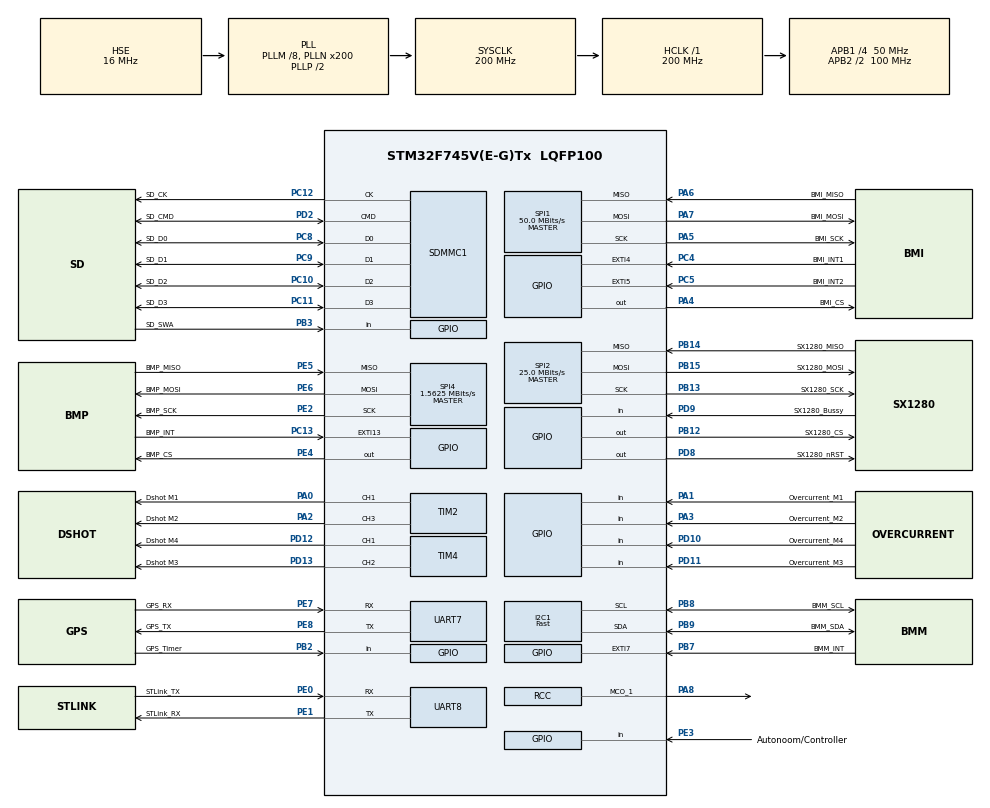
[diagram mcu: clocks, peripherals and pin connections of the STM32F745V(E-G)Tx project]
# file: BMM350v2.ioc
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CORTEX_M7.default_mode_Activation=1
Dma.Request0=TIM4_CH1
Dma.Request1=TIM4_CH2
Dma.Request2=TIM2_UP/CH3
Dma.Request3=TIM2_CH1
Dma.TIM2_CH1.3.Direction=DMA_MEMORY_TO_PERIPH
Dma.TIM2_CH1.3.FIFOMode=DMA_FIFOMODE_DISABLE
Dma.TIM2_CH1.3.Instance=DMA1_Stream5
Dma.TIM2_CH1.3.MemDataAlignment=DMA_MDATAALIGN_WORD
Dma.TIM2_CH1.3.MemInc=DMA_MINC_ENABLE
Dma.TIM2_CH1.3.Mode=DMA_NORMAL
Dma.TIM2_CH1.3.PeriphDataAlignment=DMA_PDATAALIGN_WORD
Dma.TIM2_CH1.3.PeriphInc=DMA_PINC_DISABLE
Dma.TIM2_CH1.3.Priority=DMA_PRIORITY_VERY_HIGH
Dma.TIM2_UP/CH3.2.Direction=DMA_MEMORY_TO_PERIPH
Dma.TIM2_UP/CH3.2.FIFOMode=DMA_FIFOMODE_DISABLE
Dma.TIM2_UP/CH3.2.Instance=DMA1_Stream1
Dma.TIM2_UP/CH3.2.MemDataAlignment=DMA_MDATAALIGN_WORD
Dma.TIM2_UP/CH3.2.MemInc=DMA_MINC_ENABLE
Dma.TIM2_UP/CH3.2.Mode=DMA_NORMAL
Dma.TIM2_UP/CH3.2.PeriphDataAlignment=DMA_PDATAALIGN_WORD
Dma.TIM2_UP/CH3.2.PeriphInc=DMA_PINC_DISABLE
Dma.TIM2_UP/CH3.2.Priority=DMA_PRIORITY_VERY_HIGH
Dma.TIM4_CH1.0.Direction=DMA_MEMORY_TO_PERIPH
Dma.TIM4_CH1.0.FIFOMode=DMA_FIFOMODE_DISABLE
Dma.TIM4_CH1.0.Instance=DMA1_Stream0
Dma.TIM4_CH1.0.MemDataAlignment=DMA_MDATAALIGN_HALFWORD
Dma.TIM4_CH1.0.MemInc=DMA_MINC_ENABLE
Dma.TIM4_CH1.0.Mode=DMA_NORMAL
Dma.TIM4_CH1.0.PeriphDataAlignment=DMA_PDATAALIGN_HALFWORD
Dma.TIM4_CH1.0.PeriphInc=DMA_PINC_DISABLE
Dma.TIM4_CH1.0.Priority=DMA_PRIORITY_VERY_HIGH
Dma.TIM4_CH2.1.Direction=DMA_MEMORY_TO_PERIPH
Dma.TIM4_CH2.1.FIFOMode=DMA_FIFOMODE_DISABLE
Dma.TIM4_CH2.1.Instance=DMA1_Stream3
Dma.TIM4_CH2.1.MemDataAlignment=DMA_MDATAALIGN_HALFWORD
Dma.TIM4_CH2.1.MemInc=DMA_MINC_ENABLE
Dma.TIM4_CH2.1.Mode=DMA_NORMAL
Dma.TIM4_CH2.1.PeriphDataAlignment=DMA_PDATAALIGN_HALFWORD
Dma.TIM4_CH2.1.PeriphInc=DMA_PINC_DISABLE
Dma.TIM4_CH2.1.Priority=DMA_PRIORITY_VERY_HIGH
FATFS.BSP.number=1
FATFS0.BSP.STBoard=false
FATFS0.BSP.api=Unknown
FATFS0.BSP.instance=PB3
FATFS0.BSP.ip=GPIO
FATFS0.BSP.mode=Input
FATFS0.BSP.name=Detect_SDIO
FATFS0.BSP.solution=PB3
I2C1.I2C_Speed_Mode=I2C_Fast
I2C1.Timing=0x00401959
Mcu.Family=STM32F7
Mcu.Name=STM32F745V(E-G)Tx
Mcu.Package=LQFP100
NVIC.DMA1_Stream0_IRQn=true\:0\:0\:false\:false\:true\:false\:true\:true
NVIC.DMA1_Stream1_IRQn=true\:0\:0\:false\:false\:true\:false\:true\:true
NVIC.DMA1_Stream3_IRQn=true\:0\:0\:false\:false\:true\:false\:true\:true
NVIC.DMA1_Stream5_IRQn=true\:0\:0\:false\:false\:true\:false\:true\:true
NVIC.EXTI15_10_IRQn=true\:0\:0\:false\:false\:true\:true\:true\:true
NVIC.EXTI4_IRQn=true\:3\:0\:true\:false\:true\:true\:true\:true
NVIC.EXTI9_5_IRQn=true\:3\:0\:true\:false\:true\:true\:true\:true
NVIC.PriorityGroup=NVIC_PRIORITYGROUP_4
PA0/WKUP.GPIO_Label=Dshot M1
PA0/WKUP.Signal=S_TIM2_CH1_ETR
PA1.GPIO_Label=Overcurrent_M1
PA1.Signal=GPIO_Input
PA13.GPIO_Label=STLink_DIO
PA13.Mode=Serial_Wire
PA13.Signal=SYS_JTMS-SWDIO
PA14.GPIO_Label=STLink_CLK
PA14.Mode=Serial_Wire
PA14.Signal=SYS_JTCK-SWCLK
PA2.GPIO_Label=Dshot M2
PA2.Signal=S_TIM2_CH3
PA3.GPIO_Label=Overcurrent_M2
PA3.Signal=GPIO_Input
PA4.GPIO_Label=BMI_CS
PA4.Signal=GPIO_Output
PA5.GPIO_Label=BMI_SCK
PA5.Mode=Full_Duplex_Master
PA5.Signal=SPI1_SCK
PA6.GPIO_Label=BMI_MISO
PA6.Mode=Full_Duplex_Master
PA6.Signal=SPI1_MISO
PA7.GPIO_Label=BMI_MOSI
PA7.Mode=Full_Duplex_Master
PA7.Signal=SPI1_MOSI
PA8.Mode=Clock-out-1
PA8.Signal=RCC_MCO_1
PB12.GPIO_Label=SX1280_CS
PB12.Signal=GPIO_Output
PB13.GPIO_Label=SX1280_SCK
PB13.Mode=Full_Duplex_Master
PB13.Signal=SPI2_SCK
PB14.GPIO_Label=SX1280_MISO
PB14.Mode=Full_Duplex_Master
PB14.Signal=SPI2_MISO
PB15.GPIO_Label=SX1280_MOSI
PB15.Mode=Full_Duplex_Master
PB15.Signal=SPI2_MOSI
PB2.GPIO_Label=GPS_Timer
PB2.Signal=GPIO_Input
PB3.GPIO_Label=SD_SWA
PB3.Signal=GPIO_Input
PB7.GPIO_Label=BMM_INT
PB7.Signal=GPXTI7
PB8.GPIO_Label=BMM_SCL
PB8.Mode=I2C
PB8.Signal=I2C1_SCL
PB9.GPIO_Label=BMM_SDA
PB9.Mode=I2C
PB9.Signal=I2C1_SDA
PC10.GPIO_Label=SD_D2
PC10.Mode=SD_4_bits_Wide_bus
PC10.Signal=SDMMC1_D2
PC11.GPIO_Label=SD_D3
PC11.Mode=SD_4_bits_Wide_bus
PC11.Signal=SDMMC1_D3
PC12.GPIO_Label=SD_CK
PC12.Mode=SD_4_bits_Wide_bus
PC12.Signal=SDMMC1_CK
PC13.GPIO_Label=BMP_INT
PC13.Signal=GPXTI13
PC14/OSC32_IN.Mode=LSE-External-Oscillator
PC14/OSC32_IN.Signal=RCC_OSC32_IN
PC15/OSC32_OUT.Mode=LSE-External-Oscillator
PC15/OSC32_OUT.Signal=RCC_OSC32_OUT
PC4.GPIO_Label=BMI_INT1
PC4.Signal=GPXTI4
PC5.GPIO_Label=BMI_INT2
PC5.Signal=GPXTI5
PC8.GPIO_Label=SD_D0
PC8.Mode=SD_4_bits_Wide_bus
PC8.Signal=SDMMC1_D0
PC9.GPIO_Label=SD_D1
PC9.Mode=SD_4_bits_Wide_bus
PC9.Signal=SDMMC1_D1
PD10.GPIO_Label=Overcurrent_M4
PD10.Signal=GPIO_Input
PD11.GPIO_Label=Overcurrent_M3
PD11.Signal=GPIO_Input
PD12.GPIO_Label=Dshot M4
PD12.Signal=S_TIM4_CH1
PD13.GPIO_Label=Dshot M3
PD13.Signal=S_TIM4_CH2
PD2.GPIO_Label=SD_CMD
PD2.Mode=SD_4_bits_Wide_bus
PD2.Signal=SDMMC1_CMD
PD8.GPIO_Label=SX1280_nRST
PD8.Signal=GPIO_Output
PD9.GPIO_Label=SX1280_Bussy
PD9.Signal=GPIO_Input
PE0.GPIO_Label=STLink_TX
PE0.Mode=Asynchronous
PE0.Signal=UART8_RX
PE1.GPIO_Label=STLink_RX
PE1.Mode=Asynchronous
PE1.Signal=UART8_TX
PE2.GPIO_Label=BMP_SCK
PE2.Mode=Full_Duplex_Master
PE2.Signal=SPI4_SCK
PE3.GPIO_Label=Autonoom/Controller
PE3.Signal=GPIO_Input
PE4.GPIO_Label=BMP_CS
PE4.Signal=GPIO_Output
PE5.GPIO_Label=BMP_MISO
PE5.Mode=Full_Duplex_Master
PE5.Signal=SPI4_MISO
PE6.GPIO_Label=BMP_MOSI
PE6.Mode=Full_Duplex_Master
PE6.Signal=SPI4_MOSI
PE7.GPIO_Label=GPS_RX
PE7.Mode=Asynchronous
PE7.Signal=UART7_RX
PE8.GPIO_Label=GPS_TX
PE8.Mode=Asynchronous
PE8.Signal=UART7_TX
PH0/OSC_IN.Mode=HSE-External-Oscillator
PH0/OSC_IN.Signal=RCC_OSC_IN
PH1/OSC_OUT.Mode=HSE-External-Oscillator
PH1/OSC_OUT.Signal=RCC_OSC_OUT
ProjectManager.HeapSize=0x200
ProjectManager.StackSize=0x400
ProjectManager.TargetToolchain=STM32CubeIDE
RCC.AHBFreq_Value=200000000
RCC.APB1CLKDivider=RCC_HCLK_DIV4
RCC.APB1Freq_Value=50000000
RCC.APB1TimFreq_Value=100000000
RCC.APB2CLKDivider=RCC_HCLK_DIV2
RCC.APB2Freq_Value=100000000
RCC.APB2TimFreq_Value=200000000
RCC.CortexFreq_Value=200000000
RCC.HCLKFreq_Value=200000000
RCC.HSE_VALUE=16000000
RCC.HSI_VALUE=16000000
RCC.PLLM=8
RCC.PLLN=200
RCC.PLLQ=8
RCC.PLLSourceVirtual=RCC_PLLSOURCE_HSE
RCC.SDMMCClockSelection=RCC_SDMMC1CLKSOURCE_CLK48
RCC.SYSCLKFreq_VALUE=200000000
RCC.SYSCLKSource=RCC_SYSCLKSOURCE_PLLCLK
RCC.USBFreq_Value=50000000
RCC.VCOOutputFreq_Value=400000000
SDMMC1.ClockBypass=SDMMC_CLOCK_BYPASS_DISABLE
SH.S_TIM2_CH1_ETR.0=TIM2_CH1,PWM Generation1 CH1
SH.S_TIM2_CH3.0=TIM2_CH3,PWM Generation3 CH3
SH.S_TIM4_CH1.0=TIM4_CH1,PWM Generation1 CH1
SH.S_TIM4_CH2.0=TIM4_CH2,PWM Generation2 CH2
SPI1.CLKPhase=SPI_PHASE_2EDGE
SPI1.CLKPolarity=SPI_POLARITY_HIGH
SPI1.CalculateBaudRate=50.0 MBits/s
SPI1.DataSize=SPI_DATASIZE_8BIT
SPI1.Direction=SPI_DIRECTION_2LINES
SPI1.Mode=SPI_MODE_MASTER
SPI1.VirtualType=VM_MASTER
SPI2.BaudRatePrescaler=SPI_BAUDRATEPRESCALER_2
SPI2.CalculateBaudRate=25.0 MBits/s
SPI2.DataSize=SPI_DATASIZE_8BIT
SPI2.Direction=SPI_DIRECTION_2LINES
SPI2.Mode=SPI_MODE_MASTER
SPI2.NSSPMode=SPI_NSS_PULSE_DISABLE
SPI2.VirtualType=VM_MASTER
SPI4.BaudRatePrescaler=SPI_BAUDRATEPRESCALER_64
SPI4.CLKPhase=SPI_PHASE_1EDGE
SPI4.CLKPolarity=SPI_POLARITY_LOW
SPI4.CalculateBaudRate=1.5625 MBits/s
SPI4.DataSize=SPI_DATASIZE_8BIT
SPI4.Direction=SPI_DIRECTION_2LINES
SPI4.Mode=SPI_MODE_MASTER
SPI4.VirtualType=VM_MASTER
TIM2.Channel-PWM\ Generation1\ CH1=TIM_CHANNEL_1
TIM2.Channel-PWM\ Generation3\ CH3=TIM_CHANNEL_3
TIM4.Channel-PWM\ Generation1\ CH1=TIM_CHANNEL_1
TIM4.Channel-PWM\ Generation2\ CH2=TIM_CHANNEL_2
UART8.SwapParam=UART_ADVFEATURE_SWAP_ENABLE
VP_FATFS_VS_SDIO.Mode=SDIO
board=custom

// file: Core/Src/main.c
/* USER CODE BEGIN Header */
/**
  ******************************************************************************
  * @file           : main.c
  * @brief          : Main program body
  ******************************************************************************
  * @attention
  *
  * Copyright (c) 2026 STMicroelectronics.
  * All rights reserved.
  *
  * This software is licensed under terms that can be found in the LICENSE file
  * in the root directory of this software component.
  * If no LICENSE file comes with this software, it is provided AS-IS.
  *
  ******************************************************************************
  */
/* USER CODE END Header */
#include "main.h"
#include "fatfs.h"

/* USER CODE BEGIN Includes */
#include "stdio.h"
#include "BMM350v2.h"
/* USER CODE END Includes */

I2C_HandleTypeDef hi2c1;

SD_HandleTypeDef hsd1;

SPI_HandleTypeDef hspi1;
SPI_HandleTypeDef hspi2;
SPI_HandleTypeDef hspi4;

TIM_HandleTypeDef htim2;
TIM_HandleTypeDef htim4;
DMA_HandleTypeDef hdma_tim2_up_ch3;
DMA_HandleTypeDef hdma_tim2_ch1;
DMA_HandleTypeDef hdma_tim4_ch1;
DMA_HandleTypeDef hdma_tim4_ch2;

UART_HandleTypeDef huart7;
UART_HandleTypeDef huart8;

/* USER CODE BEGIN PV */
static BMM350v2_Calib mag_calib;
/* USER CODE END PV */

void SystemClock_Config(void);
static void MPU_Config(void);
static void MX_GPIO_Init(void);
static void MX_DMA_Init(void);
static void MX_I2C1_Init(void);
static void MX_SDMMC1_SD_Init(void);
static void MX_SPI1_Init(void);
static void MX_SPI2_Init(void);
static void MX_SPI4_Init(void);
static void MX_TIM2_Init(void);
static void MX_TIM4_Init(void);
static void MX_UART7_Init(void);
static void MX_UART8_Init(void);

/* USER CODE BEGIN 0 */

int _write(int file, char *ptr, int len) {
	for(int i = 0; i < len; i++){
		if(ptr[i]=='\n'){
			HAL_UART_Transmit(&huart8, (uint8_t*)"\r", 1, HAL_MAX_DELAY);
		}
		HAL_UART_Transmit(&huart8, (uint8_t*)&ptr[i], 1, HAL_MAX_DELAY);
	}
    return len;
}
/* USER CODE END 0 */

int main(void)
{

  /* MPU Configuration--------------------------------------------------------*/
  MPU_Config();

  /* MCU Configuration--------------------------------------------------------*/

  /* Reset of all peripherals, Initializes the Flash interface and the Systick. */
  HAL_Init();

  /* Configure the system clock */
  SystemClock_Config();

  /* Initialize all configured peripherals */
  MX_GPIO_Init();
  MX_DMA_Init();
  MX_I2C1_Init();
  MX_SDMMC1_SD_Init();
  MX_SPI1_Init();
  MX_SPI2_Init();
  MX_SPI4_Init();
  MX_TIM2_Init();
  MX_TIM4_Init();
  MX_UART7_Init();
  MX_FATFS_Init();
  MX_UART8_Init();
  /* USER CODE BEGIN 2 */
  BMM350v2_Status mag_status = BMM350v2_Init();

  if (mag_status == BMM350V2_OK) {
      /* Kalibratie: draai de sensor rustig een paar keer rond alle assen
       * terwijl dit loopt (~5s), dan bepalen we de hard-iron offset. */
      printf("BMM350v2: kalibreren, draai de sensor nu enkele keren rond...\n");
      BMM350v2_CalibrateReset(&mag_calib);
      for (int i = 0; i < 250; i++) {
          if (BMM350v2_IsDataReady()) {
              int32_t x, y, z;
              if (BMM350v2_ReadRaw(&x, &y, &z) == BMM350V2_OK) {
                  BMM350v2_CalibrateSample(&mag_calib, x, y, z);
              }
          }
          HAL_Delay(20);
      }
      BMM350v2_CalibrateFinish(&mag_calib);
      printf("BMM350v2: kalibratie klaar (offset x=%.0f y=%.0f z=%.0f)\n",
             mag_calib.offset_x, mag_calib.offset_y, mag_calib.offset_z);
  }
  /* USER CODE END 2 */

  /* Infinite loop */
  /* USER CODE BEGIN WHILE */
  while (1)
  {
	  if (mag_status != BMM350V2_OK) {
		  /* Niet eindeloos dezelfde regel spammen: elke 3s opnieuw proberen,
		   * zodat het vanzelf werkt zodra de sensor wel antwoordt. */
		  printf("BMM350v2: niet geinitialiseerd, opnieuw proberen...\n");
		  HAL_Delay(3000);
		  mag_status = BMM350v2_Init();
		  if (mag_status == BMM350V2_OK) {
			  printf("BMM350v2: kalibreren, draai de sensor nu enkele keren rond...\n");
			  BMM350v2_CalibrateReset(&mag_calib);
			  for (int i = 0; i < 250; i++) {
				  if (BMM350v2_IsDataReady()) {
					  int32_t x, y, z;
					  if (BMM350v2_ReadRaw(&x, &y, &z) == BMM350V2_OK) {
						  BMM350v2_CalibrateSample(&mag_calib, x, y, z);
					  }
				  }
				  HAL_Delay(20);
			  }
			  BMM350v2_CalibrateFinish(&mag_calib);
			  printf("BMM350v2: kalibratie klaar (offset x=%.0f y=%.0f z=%.0f)\n",
			         mag_calib.offset_x, mag_calib.offset_y, mag_calib.offset_z);
		  }
	  } else if (BMM350v2_IsDataReady()) {
		  int32_t x, y, z;
		  if (BMM350v2_ReadRaw(&x, &y, &z) == BMM350V2_OK) {
			  /* geen roll/pitch beschikbaar in dit project (geen IMU hier),
			   * dus 0.0/0.0: enkel geldig als de sensor vlak ligt. */
			  float heading = BMM350v2_TiltCompensatedHeading(x, y, z, &mag_calib, 0.0f, 0.0f);
			  printf("BMM350v2: x=%ld y=%ld z=%ld  heading=%.1f graden\n",
			         (long)x, (long)y, (long)z, heading);
		  }
	  }
    /* USER CODE END WHILE */

  }
}

void SystemClock_Config(void)
{
  RCC_OscInitTypeDef RCC_OscInitStruct = {0};
  RCC_ClkInitTypeDef RCC_ClkInitStruct = {0};

  /** Configure LSE Drive Capability
  */
  HAL_PWR_EnableBkUpAccess();

  /** Configure the main internal regulator output voltage
  */
  __HAL_RCC_PWR_CLK_ENABLE();
  __HAL_PWR_VOLTAGESCALING_CONFIG(PWR_REGULATOR_VOLTAGE_SCALE1);

  /** Initializes the RCC Oscillators according to the specified parameters
  * in the RCC_OscInitTypeDef structure.
  */
  RCC_OscInitStruct.OscillatorType = RCC_OSCILLATORTYPE_HSI|RCC_OSCILLATORTYPE_HSE;
  RCC_OscInitStruct.HSEState = RCC_HSE_ON;
  RCC_OscInitStruct.HSIState = RCC_HSI_ON;
  RCC_OscInitStruct.HSICalibrationValue = RCC_HSICALIBRATION_DEFAULT;
  RCC_OscInitStruct.PLL.PLLState = RCC_PLL_ON;
  RCC_OscInitStruct.PLL.PLLSource = RCC_PLLSOURCE_HSE;
  RCC_OscInitStruct.PLL.PLLM = 8;
  RCC_OscInitStruct.PLL.PLLN = 200;
  RCC_OscInitStruct.PLL.PLLP = RCC_PLLP_DIV2;
  RCC_OscInitStruct.PLL.PLLQ = 8;
  if (HAL_RCC_OscConfig(&RCC_OscInitStruct) != HAL_OK)
  {
    Error_Handler();
  }

  /** Activate the Over-Drive mode
  */
  if (HAL_PWREx_EnableOverDrive() != HAL_OK)
  {
    Error_Handler();
  }

  /** Initializes the CPU, AHB and APB buses clocks
  */
  RCC_ClkInitStruct.ClockType = RCC_CLOCKTYPE_HCLK|RCC_CLOCKTYPE_SYSCLK
                              |RCC_CLOCKTYPE_PCLK1|RCC_CLOCKTYPE_PCLK2;
  RCC_ClkInitStruct.SYSCLKSource = RCC_SYSCLKSOURCE_PLLCLK;
  RCC_ClkInitStruct.AHBCLKDivider = RCC_SYSCLK_DIV1;
  RCC_ClkInitStruct.APB1CLKDivider = RCC_HCLK_DIV4;
  RCC_ClkInitStruct.APB2CLKDivider = RCC_HCLK_DIV2;

  if (HAL_RCC_ClockConfig(&RCC_ClkInitStruct, FLASH_LATENCY_6) != HAL_OK)
  {
    Error_Handler();
  }
  HAL_RCC_MCOConfig(RCC_MCO1, RCC_MCO1SOURCE_HSI, RCC_MCODIV_1);
}

static void MX_I2C1_Init(void)
{

  hi2c1.Instance = I2C1;
  hi2c1.Init.Timing = 0x00401959;
  hi2c1.Init.OwnAddress1 = 0;
  hi2c1.Init.AddressingMode = I2C_ADDRESSINGMODE_7BIT;
  hi2c1.Init.DualAddressMode = I2C_DUALADDRESS_DISABLE;
  hi2c1.Init.OwnAddress2 = 0;
  hi2c1.Init.OwnAddress2Masks = I2C_OA2_NOMASK;
  hi2c1.Init.GeneralCallMode = I2C_GENERALCALL_DISABLE;
  hi2c1.Init.NoStretchMode = I2C_NOSTRETCH_DISABLE;
  if (HAL_I2C_Init(&hi2c1) != HAL_OK)
  {
    Error_Handler();
  }

  /** Configure Analogue filter
  */
  if (HAL_I2CEx_ConfigAnalogFilter(&hi2c1, I2C_ANALOGFILTER_ENABLE) != HAL_OK)
  {
    Error_Handler();
  }

  /** Configure Digital filter
  */
  if (HAL_I2CEx_ConfigDigitalFilter(&hi2c1, 0) != HAL_OK)
  {
    Error_Handler();
  }

}

static void MX_SDMMC1_SD_Init(void)
{

  hsd1.Instance = SDMMC1;
  hsd1.Init.ClockEdge = SDMMC_CLOCK_EDGE_RISING;
  hsd1.Init.ClockBypass = SDMMC_CLOCK_BYPASS_DISABLE;
  hsd1.Init.ClockPowerSave = SDMMC_CLOCK_POWER_SAVE_DISABLE;
  hsd1.Init.BusWide = SDMMC_BUS_WIDE_1B;
  hsd1.Init.HardwareFlowControl = SDMMC_HARDWARE_FLOW_CONTROL_DISABLE;
  hsd1.Init.ClockDiv = 0;

}

static void MX_SPI1_Init(void)
{

  /* SPI1 parameter configuration*/
  hspi1.Instance = SPI1;
  hspi1.Init.Mode = SPI_MODE_MASTER;
  hspi1.Init.Direction = SPI_DIRECTION_2LINES;
  hspi1.Init.DataSize = SPI_DATASIZE_8BIT;
  hspi1.Init.CLKPolarity = SPI_POLARITY_HIGH;
  hspi1.Init.CLKPhase = SPI_PHASE_2EDGE;
  hspi1.Init.NSS = SPI_NSS_SOFT;
  hspi1.Init.BaudRatePrescaler = SPI_BAUDRATEPRESCALER_2;
  hspi1.Init.FirstBit = SPI_FIRSTBIT_MSB;
  hspi1.Init.TIMode = SPI_TIMODE_DISABLE;
  hspi1.Init.CRCCalculation = SPI_CRCCALCULATION_DISABLE;
  hspi1.Init.CRCPolynomial = 7;
  hspi1.Init.CRCLength = SPI_CRC_LENGTH_DATASIZE;
  hspi1.Init.NSSPMode = SPI_NSS_PULSE_DISABLE;
  if (HAL_SPI_Init(&hspi1) != HAL_OK)
  {
    Error_Handler();
  }

}

static void MX_SPI2_Init(void)
{

  /* SPI2 parameter configuration*/
  hspi2.Instance = SPI2;
  hspi2.Init.Mode = SPI_MODE_MASTER;
  hspi2.Init.Direction = SPI_DIRECTION_2LINES;
  hspi2.Init.DataSize = SPI_DATASIZE_8BIT;
  hspi2.Init.CLKPolarity = SPI_POLARITY_LOW;
  hspi2.Init.CLKPhase = SPI_PHASE_1EDGE;
  hspi2.Init.NSS = SPI_NSS_SOFT;
  hspi2.Init.BaudRatePrescaler = SPI_BAUDRATEPRESCALER_2;
  hspi2.Init.FirstBit = SPI_FIRSTBIT_MSB;
  hspi2.Init.TIMode = SPI_TIMODE_DISABLE;
  hspi2.Init.CRCCalculation = SPI_CRCCALCULATION_DISABLE;
  hspi2.Init.CRCPolynomial = 7;
  hspi2.Init.CRCLength = SPI_CRC_LENGTH_DATASIZE;
  hspi2.Init.NSSPMode = SPI_NSS_PULSE_DISABLE;
  if (HAL_SPI_Init(&hspi2) != HAL_OK)
  {
    Error_Handler();
  }

}

static void MX_SPI4_Init(void)
{

  /* SPI4 parameter configuration*/
  hspi4.Instance = SPI4;
  hspi4.Init.Mode = SPI_MODE_MASTER;
  hspi4.Init.Direction = SPI_DIRECTION_2LINES;
  hspi4.Init.DataSize = SPI_DATASIZE_8BIT;
  hspi4.Init.CLKPolarity = SPI_POLARITY_LOW;
  hspi4.Init.CLKPhase = SPI_PHASE_1EDGE;
  hspi4.Init.NSS = SPI_NSS_SOFT;
  hspi4.Init.BaudRatePrescaler = SPI_BAUDRATEPRESCALER_64;
  hspi4.Init.FirstBit = SPI_FIRSTBIT_MSB;
  hspi4.Init.TIMode = SPI_TIMODE_DISABLE;
  hspi4.Init.CRCCalculation = SPI_CRCCALCULATION_DISABLE;
  hspi4.Init.CRCPolynomial = 7;
  hspi4.Init.CRCLength = SPI_CRC_LENGTH_DATASIZE;
  hspi4.Init.NSSPMode = SPI_NSS_PULSE_ENABLE;
  if (HAL_SPI_Init(&hspi4) != HAL_OK)
  {
    Error_Handler();
  }

}

static void MX_TIM2_Init(void)
{

  TIM_MasterConfigTypeDef sMasterConfig = {0};
  TIM_OC_InitTypeDef sConfigOC = {0};

  htim2.Instance = TIM2;
  htim2.Init.Prescaler = 0;
  htim2.Init.CounterMode = TIM_COUNTERMODE_UP;
  htim2.Init.Period = 4294967295;
  htim2.Init.ClockDivision = TIM_CLOCKDIVISION_DIV1;
  htim2.Init.AutoReloadPreload = TIM_AUTORELOAD_PRELOAD_DISABLE;
  if (HAL_TIM_PWM_Init(&htim2) != HAL_OK)
  {
    Error_Handler();
  }
  sMasterConfig.MasterOutputTrigger = TIM_TRGO_RESET;
  sMasterConfig.MasterSlaveMode = TIM_MASTERSLAVEMODE_DISABLE;
  if (HAL_TIMEx_MasterConfigSynchronization(&htim2, &sMasterConfig) != HAL_OK)
  {
    Error_Handler();
  }
  sConfigOC.OCMode = TIM_OCMODE_PWM1;
  sConfigOC.Pulse = 0;
  sConfigOC.OCPolarity = TIM_OCPOLARITY_HIGH;
  sConfigOC.OCFastMode = TIM_OCFAST_DISABLE;
  if (HAL_TIM_PWM_ConfigChannel(&htim2, &sConfigOC, TIM_CHANNEL_1) != HAL_OK)
  {
    Error_Handler();
  }
  if (HAL_TIM_PWM_ConfigChannel(&htim2, &sConfigOC, TIM_CHANNEL_3) != HAL_OK)
  {
    Error_Handler();
  }
  HAL_TIM_MspPostInit(&htim2);

}

static void MX_TIM4_Init(void)
{

  TIM_MasterConfigTypeDef sMasterConfig = {0};
  TIM_OC_InitTypeDef sConfigOC = {0};

  htim4.Instance = TIM4;
  htim4.Init.Prescaler = 0;
  htim4.Init.CounterMode = TIM_COUNTERMODE_UP;
  htim4.Init.Period = 65535;
  htim4.Init.ClockDivision = TIM_CLOCKDIVISION_DIV1;
  htim4.Init.AutoReloadPreload = TIM_AUTORELOAD_PRELOAD_DISABLE;
  if (HAL_TIM_PWM_Init(&htim4) != HAL_OK)
  {
    Error_Handler();
  }
  sMasterConfig.MasterOutputTrigger = TIM_TRGO_RESET;
  sMasterConfig.MasterSlaveMode = TIM_MASTERSLAVEMODE_DISABLE;
  if (HAL_TIMEx_MasterConfigSynchronization(&htim4, &sMasterConfig) != HAL_OK)
  {
    Error_Handler();
  }
  sConfigOC.OCMode = TIM_OCMODE_PWM1;
  sConfigOC.Pulse = 0;
  sConfigOC.OCPolarity = TIM_OCPOLARITY_HIGH;
  sConfigOC.OCFastMode = TIM_OCFAST_DISABLE;
  if (HAL_TIM_PWM_ConfigChannel(&htim4, &sConfigOC, TIM_CHANNEL_1) != HAL_OK)
  {
    Error_Handler();
  }
  if (HAL_TIM_PWM_ConfigChannel(&htim4, &sConfigOC, TIM_CHANNEL_2) != HAL_OK)
  {
    Error_Handler();
  }
  HAL_TIM_MspPostInit(&htim4);

}

static void MX_UART7_Init(void)
{

  huart7.Instance = UART7;
  huart7.Init.BaudRate = 115200;
  huart7.Init.WordLength = UART_WORDLENGTH_8B;
  huart7.Init.StopBits = UART_STOPBITS_1;
  huart7.Init.Parity = UART_PARITY_NONE;
  huart7.Init.Mode = UART_MODE_TX_RX;
  huart7.Init.HwFlowCtl = UART_HWCONTROL_NONE;
  huart7.Init.OverSampling = UART_OVERSAMPLING_16;
  huart7.Init.OneBitSampling = UART_ONE_BIT_SAMPLE_DISABLE;
  huart7.AdvancedInit.AdvFeatureInit = UART_ADVFEATURE_NO_INIT;
  if (HAL_UART_Init(&huart7) != HAL_OK)
  {
    Error_Handler();
  }

}

static void MX_UART8_Init(void)
{

  huart8.Instance = UART8;
  huart8.Init.BaudRate = 115200;
  huart8.Init.WordLength = UART_WORDLENGTH_8B;
  huart8.Init.StopBits = UART_STOPBITS_1;
  huart8.Init.Parity = UART_PARITY_NONE;
  huart8.Init.Mode = UART_MODE_TX_RX;
  huart8.Init.HwFlowCtl = UART_HWCONTROL_NONE;
  huart8.Init.OverSampling = UART_OVERSAMPLING_16;
  huart8.Init.OneBitSampling = UART_ONE_BIT_SAMPLE_DISABLE;
  huart8.AdvancedInit.AdvFeatureInit = UART_ADVFEATURE_SWAP_INIT;
  huart8.AdvancedInit.Swap = UART_ADVFEATURE_SWAP_ENABLE;
  if (HAL_UART_Init(&huart8) != HAL_OK)
  {
    Error_Handler();
  }

}

static void MX_DMA_Init(void)
{

  /* DMA controller clock enable */
  __HAL_RCC_DMA1_CLK_ENABLE();

  /* DMA interrupt init */
  /* DMA1_Stream0_IRQn interrupt configuration */
  HAL_NVIC_SetPriority(DMA1_Stream0_IRQn, 0, 0);
  HAL_NVIC_EnableIRQ(DMA1_Stream0_IRQn);
  /* DMA1_Stream1_IRQn interrupt configuration */
  HAL_NVIC_SetPriority(DMA1_Stream1_IRQn, 0, 0);
  HAL_NVIC_EnableIRQ(DMA1_Stream1_IRQn);
  /* DMA1_Stream3_IRQn interrupt configuration */
  HAL_NVIC_SetPriority(DMA1_Stream3_IRQn, 0, 0);
  HAL_NVIC_EnableIRQ(DMA1_Stream3_IRQn);
  /* DMA1_Stream5_IRQn interrupt configuration */
  HAL_NVIC_SetPriority(DMA1_Stream5_IRQn, 0, 0);
  HAL_NVIC_EnableIRQ(DMA1_Stream5_IRQn);

}

static void MX_GPIO_Init(void)
{
  GPIO_InitTypeDef GPIO_InitStruct = {0};

  /* GPIO Ports Clock Enable */
  __HAL_RCC_GPIOE_CLK_ENABLE();
  __HAL_RCC_GPIOC_CLK_ENABLE();
  __HAL_RCC_GPIOH_CLK_ENABLE();
  __HAL_RCC_GPIOA_CLK_ENABLE();
  __HAL_RCC_GPIOB_CLK_ENABLE();
  __HAL_RCC_GPIOD_CLK_ENABLE();

  /*Configure GPIO pin Output Level */
  HAL_GPIO_WritePin(BMP_CS_GPIO_Port, BMP_CS_Pin, GPIO_PIN_RESET);

  /*Configure GPIO pin Output Level */
  HAL_GPIO_WritePin(BMI_CS_GPIO_Port, BMI_CS_Pin, GPIO_PIN_RESET);

  /*Configure GPIO pin Output Level */
  HAL_GPIO_WritePin(SX1280_CS_GPIO_Port, SX1280_CS_Pin, GPIO_PIN_RESET);

  /*Configure GPIO pin Output Level */
  HAL_GPIO_WritePin(SX1280_nRST_GPIO_Port, SX1280_nRST_Pin, GPIO_PIN_RESET);

  /*Configure GPIO pin : Autonoom_Controller_Pin */
  GPIO_InitStruct.Pin = Autonoom_Controller_Pin;
  GPIO_InitStruct.Mode = GPIO_MODE_INPUT;
  GPIO_InitStruct.Pull = GPIO_NOPULL;
  HAL_GPIO_Init(Autonoom_Controller_GPIO_Port, &GPIO_InitStruct);

  /*Configure GPIO pin : BMP_CS_Pin */
  GPIO_InitStruct.Pin = BMP_CS_Pin;
  GPIO_InitStruct.Mode = GPIO_MODE_OUTPUT_PP;
  GPIO_InitStruct.Pull = GPIO_NOPULL;
  GPIO_InitStruct.Speed = GPIO_SPEED_FREQ_LOW;
  HAL_GPIO_Init(BMP_CS_GPIO_Port, &GPIO_InitStruct);

  /*Configure GPIO pins : BMP_INT_Pin BMI_INT1_Pin BMI_INT2_Pin */
  GPIO_InitStruct.Pin = BMP_INT_Pin|BMI_INT1_Pin|BMI_INT2_Pin;
  GPIO_InitStruct.Mode = GPIO_MODE_IT_RISING;
  GPIO_InitStruct.Pull = GPIO_NOPULL;
  HAL_GPIO_Init(GPIOC, &GPIO_InitStruct);

  /*Configure GPIO pins : Overcurrent_M1_Pin Overcurrent_M2_Pin */
  GPIO_InitStruct.Pin = Overcurrent_M1_Pin|Overcurrent_M2_Pin;
  GPIO_InitStruct.Mode = GPIO_MODE_INPUT;
  GPIO_InitStruct.Pull = GPIO_NOPULL;
  HAL_GPIO_Init(GPIOA, &GPIO_InitStruct);

  /*Configure GPIO pin : BMI_CS_Pin */
  GPIO_InitStruct.Pin = BMI_CS_Pin;
  GPIO_InitStruct.Mode = GPIO_MODE_OUTPUT_PP;
  GPIO_InitStruct.Pull = GPIO_NOPULL;
  GPIO_InitStruct.Speed = GPIO_SPEED_FREQ_LOW;
  HAL_GPIO_Init(BMI_CS_GPIO_Port, &GPIO_InitStruct);

  /*Configure GPIO pins : GPS_Timer_Pin SD_SWA_Pin */
  GPIO_InitStruct.Pin = GPS_Timer_Pin|SD_SWA_Pin;
  GPIO_InitStruct.Mode = GPIO_MODE_INPUT;
  GPIO_InitStruct.Pull = GPIO_NOPULL;
  HAL_GPIO_Init(GPIOB, &GPIO_InitStruct);

  /*Configure GPIO pin : SX1280_CS_Pin */
  GPIO_InitStruct.Pin = SX1280_CS_Pin;
  GPIO_InitStruct.Mode = GPIO_MODE_OUTPUT_PP;
  GPIO_InitStruct.Pull = GPIO_NOPULL;
  GPIO_InitStruct.Speed = GPIO_SPEED_FREQ_LOW;
  HAL_GPIO_Init(SX1280_CS_GPIO_Port, &GPIO_InitStruct);

  /*Configure GPIO pin : SX1280_nRST_Pin */
  GPIO_InitStruct.Pin = SX1280_nRST_Pin;
  GPIO_InitStruct.Mode = GPIO_MODE_OUTPUT_PP;
  GPIO_InitStruct.Pull = GPIO_NOPULL;
  GPIO_InitStruct.Speed = GPIO_SPEED_FREQ_LOW;
  HAL_GPIO_Init(SX1280_nRST_GPIO_Port, &GPIO_InitStruct);

  /*Configure GPIO pins : SX1280_Bussy_Pin Overcurrent_M4_Pin Overcurrent_M3_Pin */
  GPIO_InitStruct.Pin = SX1280_Bussy_Pin|Overcurrent_M4_Pin|Overcurrent_M3_Pin;
  GPIO_InitStruct.Mode = GPIO_MODE_INPUT;
  GPIO_InitStruct.Pull = GPIO_NOPULL;
  HAL_GPIO_Init(GPIOD, &GPIO_InitStruct);

  /*Configure GPIO pin : PA8 */
  GPIO_InitStruct.Pin = GPIO_PIN_8;
  GPIO_InitStruct.Mode = GPIO_MODE_AF_PP;
  GPIO_InitStruct.Pull = GPIO_NOPULL;
  GPIO_InitStruct.Speed = GPIO_SPEED_FREQ_LOW;
  GPIO_InitStruct.Alternate = GPIO_AF0_MCO;
  HAL_GPIO_Init(GPIOA, &GPIO_InitStruct);

  /*Configure GPIO pin : BMM_INT_Pin */
  GPIO_InitStruct.Pin = BMM_INT_Pin;
  GPIO_InitStruct.Mode = GPIO_MODE_IT_RISING;
  GPIO_InitStruct.Pull = GPIO_NOPULL;
  HAL_GPIO_Init(BMM_INT_GPIO_Port, &GPIO_InitStruct);

  /* EXTI interrupt init*/
  HAL_NVIC_SetPriority(EXTI4_IRQn, 3, 0);
  HAL_NVIC_EnableIRQ(EXTI4_IRQn);

  HAL_NVIC_SetPriority(EXTI9_5_IRQn, 3, 0);
  HAL_NVIC_EnableIRQ(EXTI9_5_IRQn);

  HAL_NVIC_SetPriority(EXTI15_10_IRQn, 0, 0);
  HAL_NVIC_EnableIRQ(EXTI15_10_IRQn);

}

 /* MPU Configuration */

void MPU_Config(void)
{
  MPU_Region_InitTypeDef MPU_InitStruct = {0};

  /* Disables the MPU */
  HAL_MPU_Disable();

  /** Initializes and configures the Region and the memory to be protected
  */
  MPU_InitStruct.Enable = MPU_REGION_ENABLE;
  MPU_InitStruct.Number = MPU_REGION_NUMBER0;
  MPU_InitStruct.BaseAddress = 0x0;
  MPU_InitStruct.Size = MPU_REGION_SIZE_4GB;
  MPU_InitStruct.SubRegionDisable = 0x87;
  MPU_InitStruct.TypeExtField = MPU_TEX_LEVEL0;
  MPU_InitStruct.AccessPermission = MPU_REGION_NO_ACCESS;
  MPU_InitStruct.DisableExec = MPU_INSTRUCTION_ACCESS_DISABLE;
  MPU_InitStruct.IsShareable = MPU_ACCESS_SHAREABLE;
  MPU_InitStruct.IsCacheable = MPU_ACCESS_NOT_CACHEABLE;
  MPU_InitStruct.IsBufferable = MPU_ACCESS_NOT_BUFFERABLE;

  HAL_MPU_ConfigRegion(&MPU_InitStruct);
  /* Enables the MPU */
  HAL_MPU_Enable(MPU_PRIVILEGED_DEFAULT);

}

void Error_Handler(void)
{
  __disable_irq();
  while (1)
  {
  }
}
